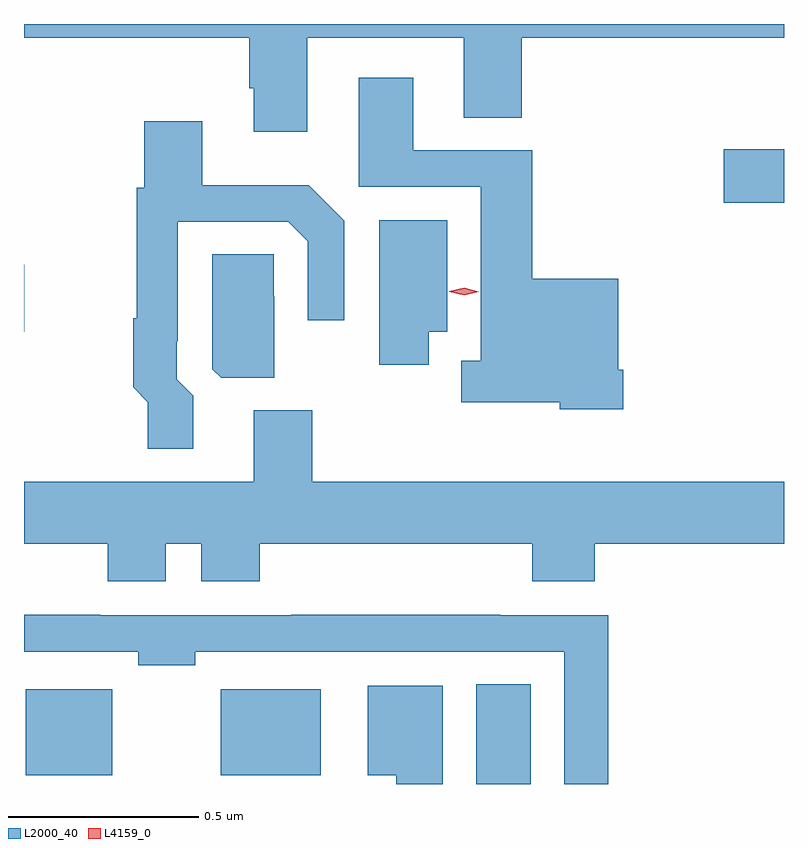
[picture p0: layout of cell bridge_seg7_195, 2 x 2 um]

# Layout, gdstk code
import gdstk
lib = gdstk.Library(unit=1e-6, precision=1e-09)
def R(c, l, rs):  # rectangles x0, y0, x1, y1
    for r in rs: c.add(gdstk.rectangle(r[:2], r[2:], *l))
def P(c, l, *ps):  # polygons
    for p in ps: c.add(gdstk.Polygon(p, *l))
L2000_40 = (2000, 40)
L4159_0 = (4159, 0)

bridge_seg7_195 = lib.new_cell('bridge_seg7_195')
R(bridge_seg7_195, L2000_40, [(400.448,1015.968,400.591,1016.231), (399.263,1015.991,399.49,1016.218), (399.776,1015.991,400.039,1016.218), (399.258,1017.158,399.259,1017.335), (401.1,1017.497,401.258,1017.639)])
P(bridge_seg7_195, L2000_40, [(400.003,1017.932),(400.415,1017.932),(400.415,1017.721),(400.568,1017.721),(400.568,1017.932),(401.258,1017.932),(401.258,1017.968),(399.258,1017.968),(399.258,1017.932),(399.851,1017.932),(399.851,1017.799),(399.863,1017.799),(399.863,1017.684),(400.003,1017.684)],
  [(400.835,1017.058),(400.822,1017.058),(400.822,1017.298),(400.595,1017.298),(400.595,1017.636),(400.282,1017.636),(400.282,1017.826),(400.139,1017.826),(400.139,1017.54),(400.46,1017.54),(400.46,1017.082),(400.408,1017.082),(400.408,1016.972),(400.668,1016.972),(400.668,1016.954),(400.835,1016.954)],
  [(399.703,1016.99),(399.66,1017.033),(399.66,1017.133),(399.663,1017.133),(399.663,1017.447),(399.954,1017.447),(400.005,1017.396),(400.005,1017.189),(400.101,1017.189),(400.101,1017.45),(400.007,1017.544),(399.727,1017.544),(399.727,1017.712),(399.575,1017.712),(399.575,1017.537),(399.555,1017.537),(399.555,1017.194),(399.545,1017.194),(399.545,1017.012),(399.583,1016.973),(399.583,1016.85),(399.703,1016.85)],
  [(400.323,1017.158),(400.372,1017.158),(400.372,1017.451),(400.193,1017.451),(400.193,1017.071),(400.323,1017.071)],
  [(399.916,1017.251),(399.915,1017.251),(399.915,1017.362),(399.753,1017.362),(399.753,1017.06),(399.777,1017.037),(399.916,1017.037)],
  [(399.631,1016.6),(399.725,1016.6),(399.725,1016.501),(399.878,1016.501),(399.878,1016.6),(400.595,1016.6),(400.595,1016.501),(400.76,1016.501),(400.76,1016.6),(401.258,1016.6),(401.258,1016.764),(400.016,1016.764),(400.016,1016.952),(399.863,1016.952),(399.863,1016.764),(399.258,1016.764),(399.258,1016.6),(399.479,1016.6),(399.479,1016.501),(399.631,1016.501)],
  [(400.796,1016.412),(400.511,1016.412),(400.511,1016.414),(399.961,1016.414),(399.961,1016.412),(399.458,1016.412),(399.458,1016.414),(399.258,1016.414),(399.258,1016.316),(399.558,1016.316),(399.558,1016.281),(399.708,1016.281),(399.708,1016.316),(400.68,1016.316),(400.68,1015.968),(400.796,1015.968)],
  [(400.36,1016.227),(400.163,1016.227),(400.163,1015.991),(400.238,1015.991),(400.238,1015.968),(400.36,1015.968)])
P(bridge_seg7_195, L4159_0, [(400.416,1017.254),(400.377,1017.264),(400.377,1017.264),(400.377,1017.265),(400.416,1017.274),(400.455,1017.264),(400.455,1017.264),(400.455,1017.264)])

lib.write_gds('bridge_seg7_195.gds')
